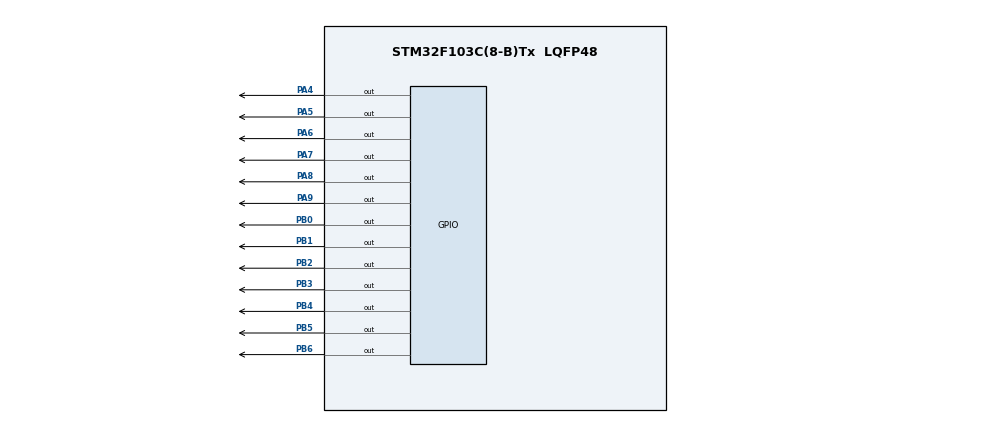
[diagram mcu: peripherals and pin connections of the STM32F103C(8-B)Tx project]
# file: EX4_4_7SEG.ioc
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Mcu.Family=STM32F1
Mcu.Name=STM32F103C(8-B)Tx
Mcu.Package=LQFP48
NVIC.PriorityGroup=NVIC_PRIORITYGROUP_4
NVIC.TIM2_IRQn=true\:0\:0\:false\:false\:true\:true\:true\:true
PA13.Mode=Serial_Wire
PA13.Signal=SYS_JTMS-SWDIO
PA14.Mode=Serial_Wire
PA14.Signal=SYS_JTCK-SWCLK
PA4.Signal=GPIO_Output
PA5.Signal=GPIO_Output
PA6.Signal=GPIO_Output
PA7.Signal=GPIO_Output
PA8.Signal=GPIO_Output
PA9.Signal=GPIO_Output
PB0.Signal=GPIO_Output
PB1.Signal=GPIO_Output
PB2.Signal=GPIO_Output
PB3.Signal=GPIO_Output
PB4.Signal=GPIO_Output
PB5.Signal=GPIO_Output
PB6.Signal=GPIO_Output
ProjectManager.HeapSize=0x200
ProjectManager.StackSize=0x400
ProjectManager.TargetToolchain=MDK-ARM V5.32
RCC.APB1Freq_Value=8000000
RCC.APB2Freq_Value=8000000
TIM2.Period=9
TIM2.Prescaler=7999
VP_TIM2_VS_ClockSourceINT.Mode=Internal
board=custom

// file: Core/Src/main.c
/* USER CODE BEGIN Header */
/**
  ******************************************************************************
  * @file           : main.c
  * @brief          : Main program body
  ******************************************************************************
  * @attention
  *
  * Copyright (c) 2026 STMicroelectronics.
  * All rights reserved.
  *
  * This software is licensed under terms that can be found in the LICENSE file
  * in the root directory of this software component.
  * If no LICENSE file comes with this software, it is provided AS-IS.
  *
  ******************************************************************************
  */
/* USER CODE END Header */
#include "main.h"

/* USER CODE BEGIN Includes */
/* USER CODE BEGIN PD */

#define LED_A GPIO_PIN_0
#define LED_B GPIO_PIN_1
#define LED_C GPIO_PIN_2
#define LED_D GPIO_PIN_3
#define LED_E GPIO_PIN_4
#define LED_F GPIO_PIN_5
#define LED_G GPIO_PIN_6

#define ALL_LEDS (LED_A | LED_B | LED_C | LED_D | \
                  LED_E | LED_F | LED_G)

#define EN0 GPIO_PIN_6
#define EN1 GPIO_PIN_7
#define EN2 GPIO_PIN_8
#define EN3 GPIO_PIN_9

#define ALL_EN (EN0 | EN1 | EN2 | EN3)

#define DOT_PIN GPIO_PIN_4

#define MAX_LED     4
#define TIMER_CYCLE 10

/* USER CODE END PD */
/* USER CODE END Includes */

/* USER CODE BEGIN PD */
/* USER CODE BEGIN PV */

int led_buffer[MAX_LED] = {1, 2, 3, 4};
int index_led = 0;

int timer0_counter = 0;
int timer0_flag = 0;

int timer1_counter = 0;
int timer1_flag = 0;

/* USER CODE END PV */
/* USER CODE END PD */

TIM_HandleTypeDef htim2;

void SystemClock_Config(void);
static void MX_GPIO_Init(void);
static void MX_TIM2_Init(void);

/* USER CODE BEGIN 0 */
/* USER CODE BEGIN 0 */

void display7SEG(int num)
{
    static const uint16_t digit[10] =
    {
        LED_A | LED_B | LED_C | LED_D | LED_E | LED_F,         // 0
        LED_B | LED_C,                                         // 1
        LED_A | LED_B | LED_D | LED_E | LED_G,                 // 2
        LED_A | LED_B | LED_C | LED_D | LED_G,                 // 3
        LED_B | LED_C | LED_F | LED_G,                         // 4
        LED_A | LED_C | LED_D | LED_F | LED_G,                 // 5
        LED_A | LED_C | LED_D | LED_E | LED_F | LED_G,         // 6
        LED_A | LED_B | LED_C,                                 // 7
        LED_A | LED_B | LED_C | LED_D | LED_E | LED_F | LED_G, // 8
        LED_A | LED_B | LED_C | LED_D | LED_F | LED_G          // 9
    };

    HAL_GPIO_WritePin(GPIOB, ALL_LEDS, GPIO_PIN_SET);

    if (num >= 0 && num <= 9)
    {
        HAL_GPIO_WritePin(GPIOB, digit[num], GPIO_PIN_RESET);
    }
}

void disable7SEG(void)
{
    HAL_GPIO_WritePin(GPIOA, ALL_EN, GPIO_PIN_SET);
}

void update7SEG(int index)
{
    // Tat LED cu truoc khi doi du lieu
    disable7SEG();

    switch (index)
    {
        case 0:
            display7SEG(led_buffer[0]);
            HAL_GPIO_WritePin(GPIOA, EN0, GPIO_PIN_RESET);
            break;

        case 1:
            display7SEG(led_buffer[1]);
            HAL_GPIO_WritePin(GPIOA, EN1, GPIO_PIN_RESET);
            break;

        case 2:
            display7SEG(led_buffer[2]);
            HAL_GPIO_WritePin(GPIOA, EN2, GPIO_PIN_RESET);
            break;

        case 3:
            display7SEG(led_buffer[3]);
            HAL_GPIO_WritePin(GPIOA, EN3, GPIO_PIN_RESET);
            break;

        default:
            break;
    }
}

void setTimer0(int duration)
{
    timer0_counter = duration / TIMER_CYCLE;
    timer0_flag = 0;
}

void setTimer1(int duration)
{
    timer1_counter = duration / TIMER_CYCLE;
    timer1_flag = 0;
}

void timer_run(void)
{
    if (timer0_counter > 0)
    {
        timer0_counter--;

        if (timer0_counter == 0)
        {
            timer0_flag = 1;
        }
    }

    if (timer1_counter > 0)
    {
        timer1_counter--;

        if (timer1_counter == 0)
        {
            timer1_flag = 1;
        }
    }
}

/* USER CODE BEGIN 4 */

void HAL_TIM_PeriodElapsedCallback(TIM_HandleTypeDef *htim)
{
    if (htim->Instance == TIM2)
    {
        timer_run();

        // DOT doi trang thai moi 1000 ms
        if (timer0_flag == 1)
        {
            HAL_GPIO_TogglePin(GPIOA, DOT_PIN);
            setTimer0(1000);
        }

        // Chuyen LED moi 250 ms
        if (timer1_flag == 1)
        {
            update7SEG(index_led);

            index_led++;
            if (index_led >= MAX_LED)
            {
                index_led = 0;
            }

            setTimer1(250);
        }
    }
}

/* USER CODE END 4 */
/* USER CODE END 0 */
/* USER CODE END 0 */

int main(void)
{

  /* MCU Configuration--------------------------------------------------------*/

  /* Reset of all peripherals, Initializes the Flash interface and the Systick. */
  HAL_Init();

  /* Configure the system clock */
  SystemClock_Config();

  /* Initialize all configured peripherals */
  MX_GPIO_Init();
  MX_TIM2_Init();
  /* USER CODE BEGIN 2 */

	HAL_GPIO_WritePin(GPIOA, ALL_EN, 1);

	update7SEG(0);

	setTimer0(1000);
	setTimer1(250);

	HAL_TIM_Base_Start_IT(&htim2);
  /* USER CODE END 2 */

  /* Infinite loop */
  while (1)
  {

  }
}

void SystemClock_Config(void)
{
  RCC_OscInitTypeDef RCC_OscInitStruct = {0};
  RCC_ClkInitTypeDef RCC_ClkInitStruct = {0};

  /** Initializes the RCC Oscillators according to the specified parameters
  * in the RCC_OscInitTypeDef structure.
  */
  RCC_OscInitStruct.OscillatorType = RCC_OSCILLATORTYPE_HSI;
  RCC_OscInitStruct.HSIState = RCC_HSI_ON;
  RCC_OscInitStruct.HSICalibrationValue = RCC_HSICALIBRATION_DEFAULT;
  RCC_OscInitStruct.PLL.PLLState = RCC_PLL_NONE;
  if (HAL_RCC_OscConfig(&RCC_OscInitStruct) != HAL_OK)
  {
    Error_Handler();
  }

  /** Initializes the CPU, AHB and APB buses clocks
  */
  RCC_ClkInitStruct.ClockType = RCC_CLOCKTYPE_HCLK|RCC_CLOCKTYPE_SYSCLK
                              |RCC_CLOCKTYPE_PCLK1|RCC_CLOCKTYPE_PCLK2;
  RCC_ClkInitStruct.SYSCLKSource = RCC_SYSCLKSOURCE_HSI;
  RCC_ClkInitStruct.AHBCLKDivider = RCC_SYSCLK_DIV1;
  RCC_ClkInitStruct.APB1CLKDivider = RCC_HCLK_DIV1;
  RCC_ClkInitStruct.APB2CLKDivider = RCC_HCLK_DIV1;

  if (HAL_RCC_ClockConfig(&RCC_ClkInitStruct, FLASH_LATENCY_0) != HAL_OK)
  {
    Error_Handler();
  }
}

static void MX_TIM2_Init(void)
{

  TIM_ClockConfigTypeDef sClockSourceConfig = {0};
  TIM_MasterConfigTypeDef sMasterConfig = {0};

  htim2.Instance = TIM2;
  htim2.Init.Prescaler = 7999;
  htim2.Init.CounterMode = TIM_COUNTERMODE_UP;
  htim2.Init.Period = 9;
  htim2.Init.ClockDivision = TIM_CLOCKDIVISION_DIV1;
  htim2.Init.AutoReloadPreload = TIM_AUTORELOAD_PRELOAD_DISABLE;
  if (HAL_TIM_Base_Init(&htim2) != HAL_OK)
  {
    Error_Handler();
  }
  sClockSourceConfig.ClockSource = TIM_CLOCKSOURCE_INTERNAL;
  if (HAL_TIM_ConfigClockSource(&htim2, &sClockSourceConfig) != HAL_OK)
  {
    Error_Handler();
  }
  sMasterConfig.MasterOutputTrigger = TIM_TRGO_RESET;
  sMasterConfig.MasterSlaveMode = TIM_MASTERSLAVEMODE_DISABLE;
  if (HAL_TIMEx_MasterConfigSynchronization(&htim2, &sMasterConfig) != HAL_OK)
  {
    Error_Handler();
  }

}

static void MX_GPIO_Init(void)
{
  GPIO_InitTypeDef GPIO_InitStruct = {0};

  /* GPIO Ports Clock Enable */
  __HAL_RCC_GPIOA_CLK_ENABLE();
  __HAL_RCC_GPIOB_CLK_ENABLE();

  /*Configure GPIO pin Output Level */
  HAL_GPIO_WritePin(GPIOA, GPIO_PIN_4|GPIO_PIN_5|GPIO_PIN_6|GPIO_PIN_7
                          |GPIO_PIN_8|GPIO_PIN_9, GPIO_PIN_RESET);

  /*Configure GPIO pin Output Level */
  HAL_GPIO_WritePin(GPIOB, GPIO_PIN_0|GPIO_PIN_1|GPIO_PIN_2|GPIO_PIN_3
                          |GPIO_PIN_4|GPIO_PIN_5|GPIO_PIN_6, GPIO_PIN_RESET);

  /*Configure GPIO pins : PA4 PA5 PA6 PA7
                           PA8 PA9 */
  GPIO_InitStruct.Pin = GPIO_PIN_4|GPIO_PIN_5|GPIO_PIN_6|GPIO_PIN_7
                          |GPIO_PIN_8|GPIO_PIN_9;
  GPIO_InitStruct.Mode = GPIO_MODE_OUTPUT_PP;
  GPIO_InitStruct.Pull = GPIO_NOPULL;
  GPIO_InitStruct.Speed = GPIO_SPEED_FREQ_LOW;
  HAL_GPIO_Init(GPIOA, &GPIO_InitStruct);

  /*Configure GPIO pins : PB0 PB1 PB2 PB3
                           PB4 PB5 PB6 */
  GPIO_InitStruct.Pin = GPIO_PIN_0|GPIO_PIN_1|GPIO_PIN_2|GPIO_PIN_3
                          |GPIO_PIN_4|GPIO_PIN_5|GPIO_PIN_6;
  GPIO_InitStruct.Mode = GPIO_MODE_OUTPUT_PP;
  GPIO_InitStruct.Pull = GPIO_NOPULL;
  GPIO_InitStruct.Speed = GPIO_SPEED_FREQ_LOW;
  HAL_GPIO_Init(GPIOB, &GPIO_InitStruct);

}

void Error_Handler(void)
{
  __disable_irq();
  while (1)
  {
  }
}
